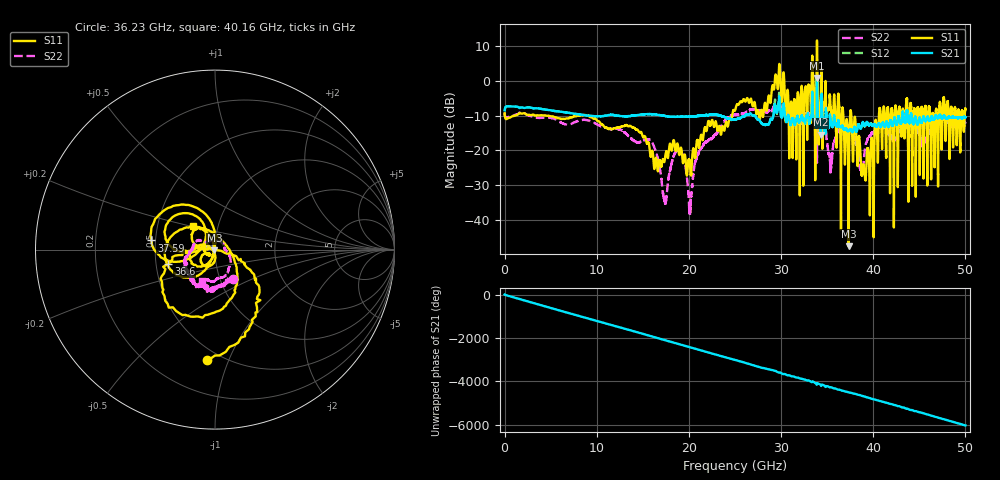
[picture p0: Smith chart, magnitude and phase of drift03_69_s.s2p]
!Created with skrf (http://scikit-rf.org).
# Hz S RI R 50.0
!freq ReS11 ImS11 ReS21 ImS21 ReS12 ImS12 ReS22 ImS22
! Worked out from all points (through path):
!   10001 points, 300 kHz to 50 GHz, reference 50 ohm
!   highest |S21| = 0.79 dB at 33.9 GHz (marker M1); lowest = -15.5 dB at 34.32 GHz (marker M2)
!   group delay of S21, straight-line fit = 335 ps
!   lowest |S11| = -47.5 dB at 37.33 GHz (marker M3), VSWR 1.01, Z = 49.7 - j0.286 ohm
!   |S11| at or under -10 dB: 4.468 GHz to 7.954 GHz (3.486 GHz wide, 56.1 % of centre); 9.023 GHz to 24.7 GHz (15.67 GHz wide, 93 % of centre); 37.62 GHz to 40.62 GHz (2.997 GHz wide, 7.66 % of centre) (the widest 3 of 63)
!   |S22| runs from -38.7 to -5.9 dB; largest |S21 - S12| = 0.11
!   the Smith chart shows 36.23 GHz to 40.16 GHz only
!   S11 on the Smith chart (normalised r, x): 36.23 GHz: 0.42, -0.83; 36.6 GHz: 0.58, -0.10; 37.59 GHz: 0.47, +0.06; 40.16 GHz: 0.75, +0.21
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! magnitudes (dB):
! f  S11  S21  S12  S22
! 300 kHz  -9.3  -8.5  -8.5  -9.3
! 8.335 GHz  -9.9  -9.8  -9.8  -11.3
! 16.67 GHz  -25.4  -9.8  -9.8  -23.1
! 17.41 GHz  -22.3  -10.1  -10.1  -34.9
! 19.1 GHz  -19.5  -10.3  -10.3  -20.2
! 20.13 GHz  -24.8  -10.3  -10.3  -36.8
! 21.17 GHz  -18.2  -10.1  -10.1  -20.0
! 25 GHz  -8.5  -11.1  -11.1  -9.9
! 29.66 GHz  -2.2  -8.3  -8.4  -7.2
! 31.08 GHz  -6.1  -12.7  -12.7  -10.5
! 33.34 GHz  0.6  -7.4  -7.5  -9.3
! 33.9 GHz  11.6  0.8  0.3  -23.6
! 34.32 GHz  -2.9  -15.5  -14.9  -11.2
! 35.34 GHz  -5.9  -10.4  -9.9  -25.1
! 36.23 GHz  -4.2  -11.6  -11.5  -14.4
! 36.6 GHz  -11.3  -12.9  -13.0  -13.4
! 37.33 GHz  -47.5  -14.4  -14.5  -13.6
! 37.59 GHz  -8.9  -14.0  -13.9  -13.7
! 38.71 GHz  -25.4  -13.4  -13.3  -25.6
! 40.16 GHz  -14.8  -12.4  -12.4  -14.5
! 41.67 GHz  -9.3  -13.3  -13.2  -14.9
! 50 GHz  -8.1  -10.5  -10.6  -12.2
